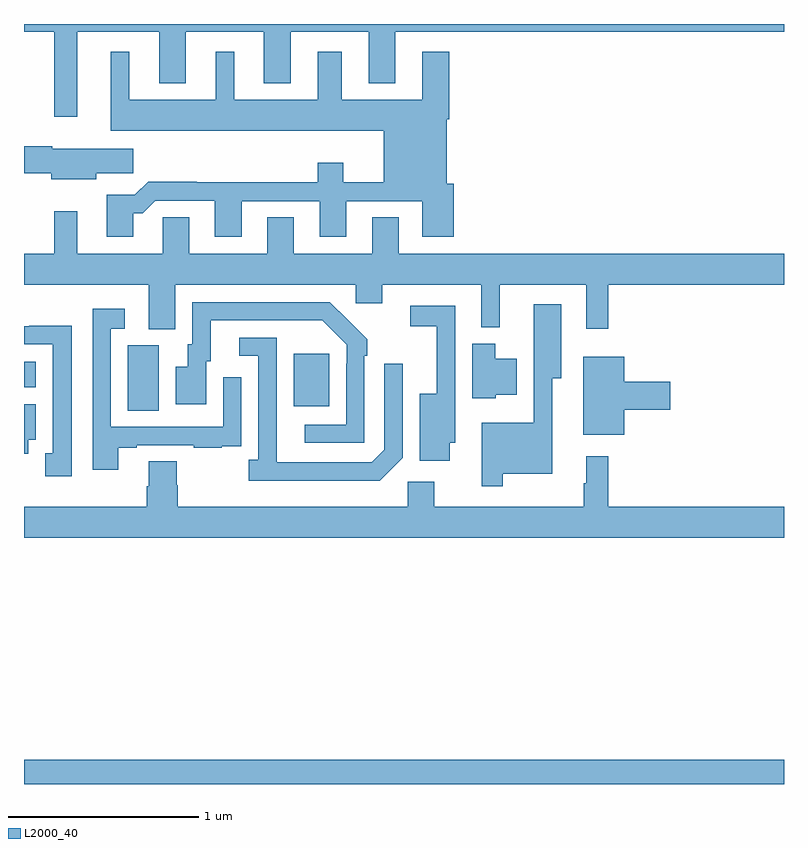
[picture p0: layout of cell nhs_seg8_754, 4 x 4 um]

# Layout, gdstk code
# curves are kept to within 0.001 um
import gdstk
lib = gdstk.Library(unit=1e-6, precision=1e-09)
def R(c, l, rs):  # rectangles x0, y0, x1, y1
    for r in rs: c.add(gdstk.rectangle(r[:2], r[2:], *l))
def P(c, l, *ps):  # polygons
    for p in ps: c.add(gdstk.Polygon(p, *l))
L2000_40 = (2000, 40)

nhs_seg8_754 = lib.new_cell('nhs_seg8_754')
R(nhs_seg8_754, L2000_40, [(161,1085.9,165,1086.028), (161.546,1087.864,161.71,1088.208), (162.419,1087.889,162.607,1088.164), (161,1087.988,161.062,1088.122)])
P(nhs_seg8_754, L2000_40, [(161.281,1089.86),(161.711,1089.86),(161.711,1089.587),(161.851,1089.587),(161.851,1089.86),(162.263,1089.86),(162.263,1089.587),(162.403,1089.587),(162.403,1089.86),(162.815,1089.86),(162.815,1089.587),(162.955,1089.587),(162.955,1089.86),(165,1089.86),(165,1089.9),(161,1089.9),(161,1089.86),(161.16,1089.86),(161.16,1089.411),(161.281,1089.411)],
  [(161.575,1088.903),(161.624,1088.903),(161.691,1088.97),(162.005,1088.97),(162.005,1088.781),(162.145,1088.781),(162.145,1088.967),(162.557,1088.967),(162.557,1088.781),(162.697,1088.781),(162.697,1088.967),(163.097,1088.967),(163.097,1088.781),(163.262,1088.781),(163.262,1089.06),(163.225,1089.06),(163.225,1089.398),(163.238,1089.398),(163.238,1089.754),(163.097,1089.754),(163.097,1089.502),(162.673,1089.502),(162.673,1089.754),(162.545,1089.754),(162.545,1089.502),(162.106,1089.502),(162.106,1089.754),(162.008,1089.754),(162.008,1089.502),(161.554,1089.502),(161.554,1089.754),(161.456,1089.754),(161.456,1089.338),(162.893,1089.338),(162.893,1089.068),(162.679,1089.068),(162.679,1089.169),(162.545,1089.169),(162.545,1089.068),(161.909,1089.068),(161.909,1089.071),(161.654,1089.071),(161.584,1089.001),(161.435,1089.001),(161.435,1088.781),(161.575,1088.781)],
  [(161.38,1089.115),(161.575,1089.115),(161.575,1089.244),(161.148,1089.244),(161.148,1089.257),(161,1089.257),(161,1089.115),(161.144,1089.115),(161.144,1089.083),(161.38,1089.083)],
  [(162.973,1088.882),(162.833,1088.882),(162.833,1088.692),(162.421,1088.692),(162.421,1088.882),(162.281,1088.882),(162.281,1088.692),(161.869,1088.692),(161.869,1088.882),(161.73,1088.882),(161.73,1088.692),(161.281,1088.692),(161.281,1088.914),(161.16,1088.914),(161.16,1088.692),(161,1088.692),(161,1088.528),(161.657,1088.528),(161.657,1088.293),(161.797,1088.293),(161.797,1088.528),(162.747,1088.528),(162.747,1088.43),(162.886,1088.43),(162.886,1088.528),(163.406,1088.528),(163.406,1088.303),(163.504,1088.303),(163.504,1088.528),(163.958,1088.528),(163.958,1088.295),(164.075,1088.295),(164.075,1088.528),(165,1088.528),(165,1088.692),(162.973,1088.692)],
  [(162.792,1088.153),(162.807,1088.153),(162.807,1088.241),(162.61,1088.436),(161.886,1088.436),(161.886,1088.214),(161.861,1088.214),(161.861,1088.095),(161.798,1088.095),(161.798,1087.899),(161.959,1087.899),(161.959,1088.124),(161.983,1088.124),(161.983,1088.34),(162.571,1088.34),(162.699,1088.211),(162.699,1088.111),(162.696,1088.111),(162.696,1087.791),(162.477,1087.791),(162.477,1087.695),(162.792,1087.695)],
  [(163.519,1087.532),(163.78,1087.532),(163.78,1088.036),(163.828,1088.036),(163.828,1088.425),(163.682,1088.425),(163.682,1087.801),(163.41,1087.801),(163.41,1087.467),(163.519,1087.467)],
  [(163.24,1087.697),(163.269,1087.697),(163.269,1088.418),(163.032,1088.418),(163.032,1088.31),(163.172,1088.31),(163.172,1087.954),(163.082,1087.954),(163.082,1087.602),(163.24,1087.602)],
  [(161.497,1087.671),(161.593,1087.671),(161.593,1087.683),(161.893,1087.683),(161.893,1087.671),(162.041,1087.671),(162.041,1087.677),(162.143,1087.677),(162.143,1087.786),(162.144,1087.786),(162.144,1088.041),(162.048,1088.041),(162.048,1087.779),(161.457,1087.779),(161.457,1088.295),(161.53,1088.295),(161.53,1088.401),(161.361,1088.401),(161.361,1087.554),(161.497,1087.554)],
  [(161.251,1088.312),(161.028,1088.312),(161.028,1088.31),(161,1088.31),(161,1088.214),(161.15,1088.214),(161.15,1087.641),(161.111,1087.641),(161.111,1087.521),(161.251,1087.521)],
  [(162.993,1087.617),(162.993,1088.113),(162.897,1088.113),(162.897,1087.659),(162.831,1087.593),(162.331,1087.593),(162.33,1088.25),(162.132,1088.25),(162.132,1088.154),(162.234,1088.154),(162.234,1087.606),(162.183,1087.606),(162.183,1087.496),(162.872,1087.496)],
  [(163.482,1087.949),(163.594,1087.949),(163.594,1088.137),(163.48,1088.137),(163.48,1088.218),(163.358,1088.218),(163.358,1087.931),(163.482,1087.931)],
  [(164.158,1087.871),(164.401,1087.871),(164.401,1088.018),(164.158,1088.018),(164.158,1088.149),(163.943,1088.149),(163.943,1087.739),(164.158,1087.739)],
  [(161.023,1087.713),(161.062,1087.713),(161.062,1087.9),(161,1087.9),(161,1087.637),(161.023,1087.637)],
  [(165,1087.36),(164.075,1087.36),(164.075,1087.624),(163.958,1087.624),(163.958,1087.484),(163.947,1087.484),(163.947,1087.36),(163.159,1087.36),(163.159,1087.492),(163.02,1087.492),(163.02,1087.36),(161.81,1087.36),(161.81,1087.473),(161.805,1087.473),(161.805,1087.598),(161.657,1087.598),(161.657,1087.466),(161.645,1087.466),(161.645,1087.36),(161,1087.36),(161,1087.196),(165,1087.196)])

lib.write_gds('nhs_seg8_754.gds')
